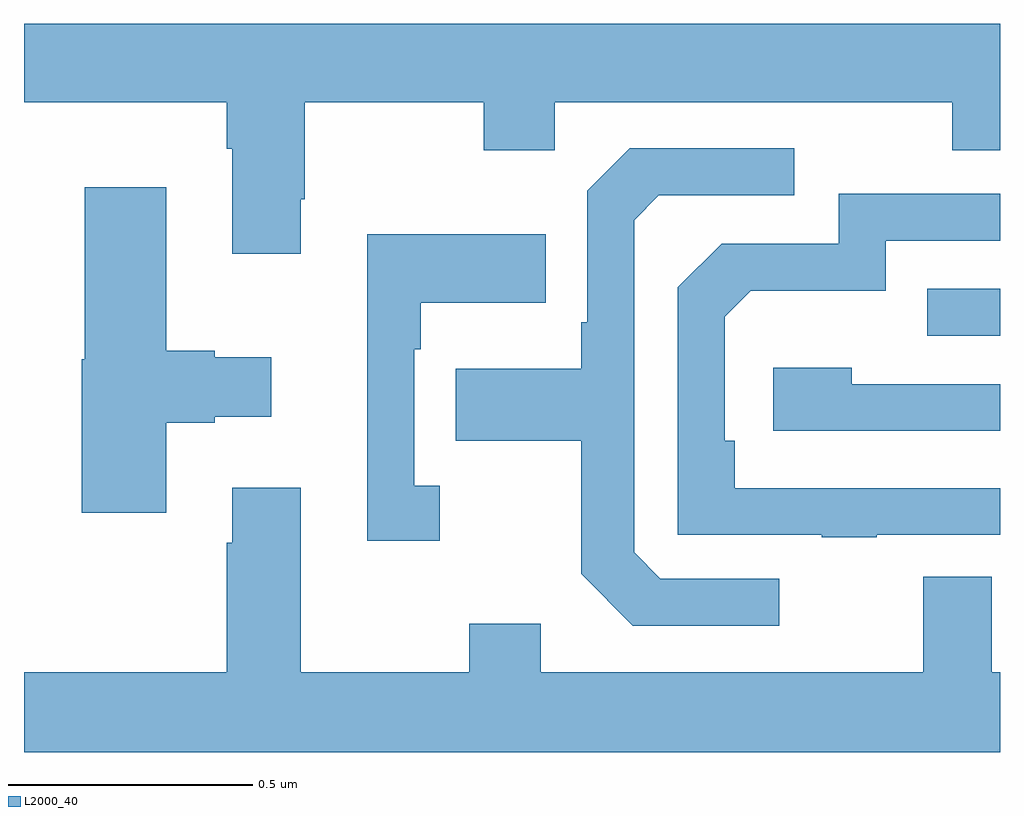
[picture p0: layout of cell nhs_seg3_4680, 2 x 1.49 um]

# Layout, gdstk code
import gdstk
lib = gdstk.Library(unit=1e-6, precision=1e-09)
def R(c, l, rs):  # rectangles x0, y0, x1, y1
    for r in rs: c.add(gdstk.rectangle(r[:2], r[2:], *l))
def P(c, l, *ps):  # polygons
    for p in ps: c.add(gdstk.Polygon(p, *l))
L2000_40 = (2000, 40)

nhs_seg3_4680 = lib.new_cell('nhs_seg3_4680')
R(nhs_seg3_4680, L2000_40, [(170.851,709.761,171,709.857)])
P(nhs_seg3_4680, L2000_40, [(169.567,710.041),(169.575,710.041),(169.575,710.24),(169.942,710.24),(169.942,710.141),(170.088,710.141),(170.088,710.24),(170.902,710.24),(170.902,710.141),(171,710.141),(171,710.4),(169,710.4),(169,710.24),(169.415,710.24),(169.415,710.144),(169.427,710.144),(169.427,709.929),(169.567,709.929)],
  [(170.548,709.263),(170.304,709.263),(170.25,709.317),(170.25,709.998),(170.301,710.049),(170.578,710.049),(170.578,710.145),(170.241,710.145),(170.154,710.058),(170.154,709.789),(170.142,709.789),(170.142,709.693),(169.885,709.693),(169.885,709.546),(170.142,709.546),(170.142,709.273),(170.247,709.167),(170.548,709.167)],
  [(169.291,709.583),(169.391,709.583),(169.391,709.595),(169.507,709.595),(169.507,709.717),(169.391,709.717),(169.391,709.73),(169.291,709.73),(169.291,710.065),(169.124,710.065),(169.124,709.713),(169.118,709.713),(169.118,709.398),(169.291,709.398)],
  [(170.747,709.353),(171,709.353),(171,709.449),(170.456,709.449),(170.456,709.546),(170.436,709.546),(170.436,709.8),(170.489,709.853),(170.766,709.853),(170.766,709.956),(171,709.956),(171,710.052),(170.67,710.052),(170.67,709.95),(170.43,709.95),(170.34,709.86),(170.34,709.353),(170.635,709.353),(170.635,709.348),(170.747,709.348)],
  [(169.852,709.454),(169.8,709.454),(169.8,709.733),(169.813,709.733),(169.813,709.829),(170.069,709.829),(170.069,709.969),(169.703,709.969),(169.703,709.341),(169.852,709.341)],
  [(171,709.662),(170.696,709.662),(170.696,709.696),(170.535,709.696),(170.535,709.566),(171,709.566)],
  [(171,709.072),(170.983,709.072),(170.983,709.267),(170.843,709.267),(170.843,709.072),(170.059,709.072),(170.059,709.171),(169.912,709.171),(169.912,709.072),(169.567,709.072),(169.567,709.45),(169.427,709.45),(169.427,709.337),(169.415,709.337),(169.415,709.072),(169,709.072),(169,708.908),(171,708.908)])

lib.write_gds('nhs_seg3_4680.gds')
